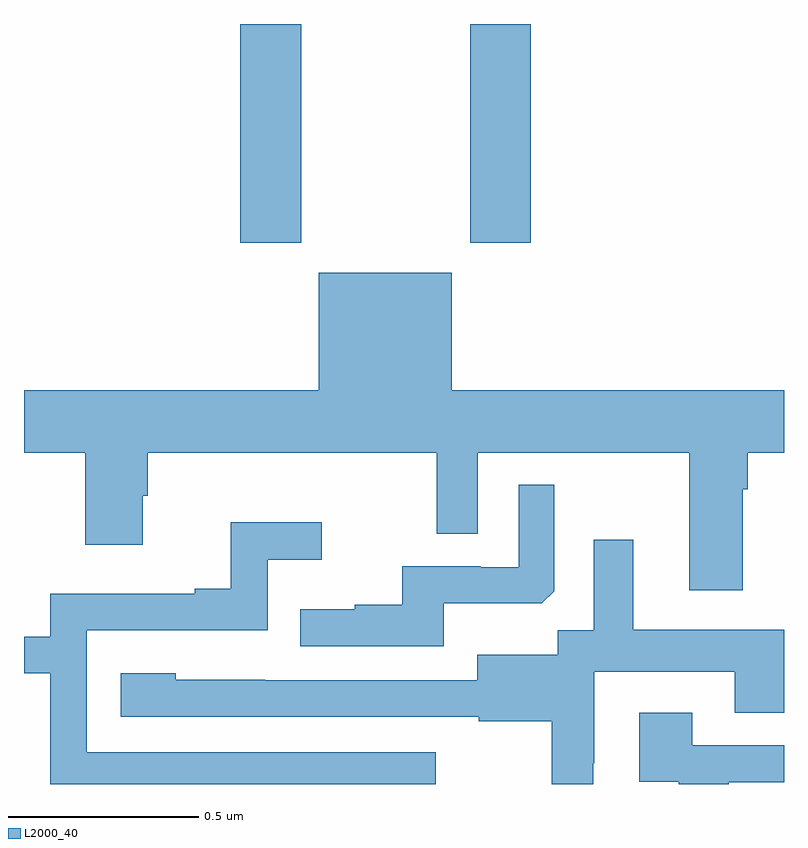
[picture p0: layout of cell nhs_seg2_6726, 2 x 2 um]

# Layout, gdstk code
import gdstk
lib = gdstk.Library(unit=1e-6, precision=1e-09)
def R(c, l, rs):  # rectangles x0, y0, x1, y1
    for r in rs: c.add(gdstk.rectangle(r[:2], r[2:], *l))
def P(c, l, *ps):  # polygons
    for p in ps: c.add(gdstk.Polygon(p, *l))
L2000_40 = (2000, 40)

nhs_seg2_6726 = lib.new_cell('nhs_seg2_6726')
R(nhs_seg2_6726, L2000_40, [(195.569,612.225,195.729,612.8), (196.174,612.225,196.334,612.8)])
P(nhs_seg2_6726, L2000_40, [(195.776,612.145),(195.776,611.836),(195,611.836),(195,611.672),(195.161,611.672),(195.161,611.43),(195.313,611.43),(195.313,611.559),(195.326,611.559),(195.326,611.672),(196.086,611.672),(196.086,611.458),(196.194,611.458),(196.194,611.672),(196.751,611.672),(196.751,611.31),(196.891,611.31),(196.891,611.576),(196.904,611.576),(196.904,611.672),(197,611.672),(197,611.836),(196.126,611.836),(196.126,612.145)],
  [(196.105,611.276),(196.363,611.276),(196.395,611.307),(196.395,611.587),(196.302,611.587),(196.302,611.37),(196.202,611.37),(196.202,611.373),(195.995,611.373),(195.995,611.272),(195.871,611.272),(195.871,611.26),(195.727,611.26),(195.727,611.163),(196.105,611.163)],
  [(196.084,610.884),(195.165,610.884),(195.165,611.205),(195.642,611.205),(195.642,611.39),(195.784,611.39),(195.784,611.489),(195.544,611.489),(195.544,611.314),(195.449,611.314),(195.449,611.301),(195.069,611.301),(195.069,611.187),(195,611.187),(195,611.091),(195.069,611.091),(195.069,610.8),(196.084,610.8)],
  [(196.498,610.855),(196.5,610.855),(196.5,611.096),(196.871,611.096),(196.871,610.987),(197,610.987),(197,611.206),(196.603,611.206),(196.603,611.443),(196.499,611.443),(196.499,611.204),(196.404,611.204),(196.404,611.14),(196.193,611.14),(196.193,611.073),(195.635,611.073),(195.635,611.074),(195.399,611.074),(195.399,611.092),(195.255,611.092),(195.255,610.977),(196.197,610.977),(196.197,610.965),(196.389,610.965),(196.389,610.8),(196.498,610.8)],
  [(196.855,610.805),(197,610.805),(197,610.902),(196.759,610.902),(196.759,610.987),(196.619,610.987),(196.619,610.806),(196.723,610.806),(196.723,610.8),(196.855,610.8)])

lib.write_gds('nhs_seg2_6726.gds')
